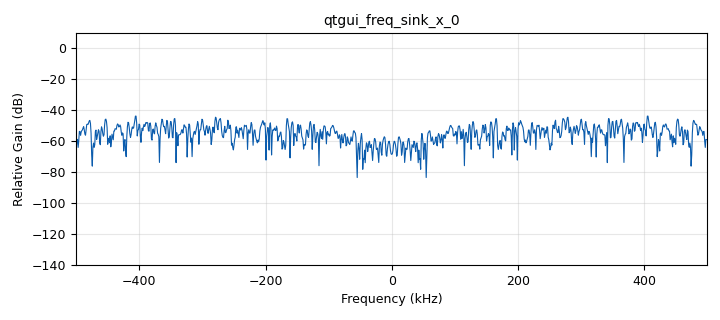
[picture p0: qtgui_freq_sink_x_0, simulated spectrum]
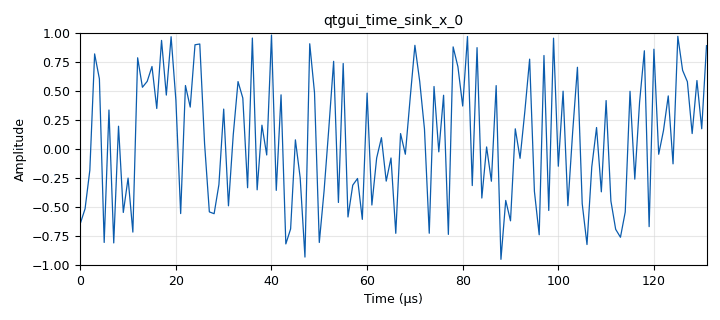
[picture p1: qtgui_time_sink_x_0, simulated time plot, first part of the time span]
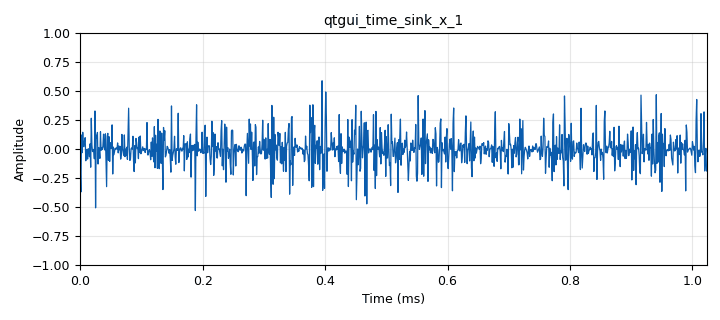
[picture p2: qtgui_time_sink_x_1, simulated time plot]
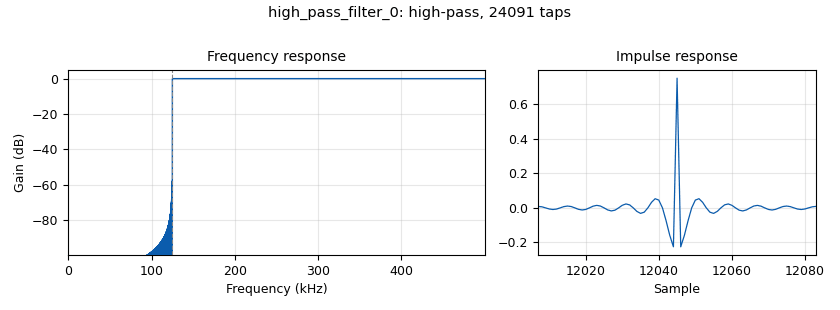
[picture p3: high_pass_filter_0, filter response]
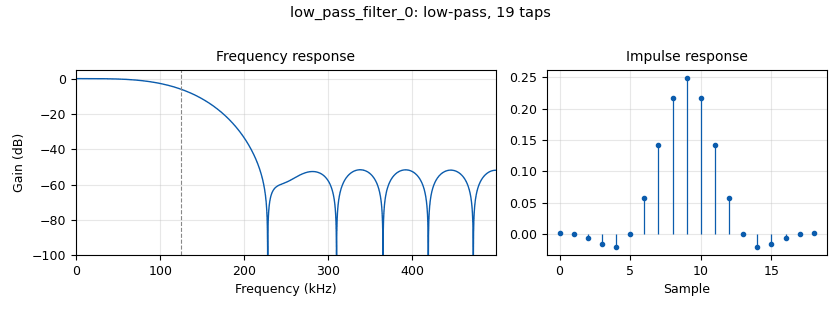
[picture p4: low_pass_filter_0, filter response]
options:
  parameters:
    generate_options: qt_gui
    id: options_0
    output_language: python
    title: Not titled yet
  states: {}

blocks:
- name: cutoff
  id: variable_qtgui_range
  parameters:
    orient: Qt.Horizontal
    start: samp_rate/1000
    step: '1000'
    stop: samp_rate/2
    value: samp_rate/8
  states: {}
- name: samp_rate
  id: variable
  parameters:
    value: '1000000'
  states: {}
- name: transition
  id: variable_qtgui_range
  parameters:
    orient: Qt.Horizontal
    start: samp_rate/1000
    step: '1000'
    stop: samp_rate/2
    value: samp_rate/8
    widget: slider
  states: {}
- name: analog_noise_source_x_0
  id: analog_noise_source_x
  parameters:
    amp: '1'
    noise_type: analog.GR_UNIFORM
    seed: '0'
    type: float
  states: {}
- name: blocks_multiply_xx_0
  id: blocks_multiply_xx
  parameters:
    type: float
  states: {}
- name: blocks_throttle_0
  id: blocks_throttle
  parameters:
    samples_per_second: samp_rate
    type: float
  states: {}
- name: high_pass_filter_0
  id: high_pass_filter
  parameters:
    cutoff_freq: cutoff
    decim: '1'
    gain: '1'
    samp_rate: samp_rate
    type: fir_filter_fff
    width: '100'
    win: firdes.WIN_HAMMING
  states: {}
- name: low_pass_filter_0
  id: low_pass_filter
  parameters:
    cutoff_freq: cutoff
    decim: '1'
    gain: '1'
    samp_rate: samp_rate
    type: fir_filter_fff
    width: transition
    win: firdes.WIN_HAMMING
  states: {}
- name: qtgui_freq_sink_x_0
  id: qtgui_freq_sink_x
  parameters:
    bw: samp_rate
    fc: '0'
    fftsize: '1024'
    type: float
    wintype: firdes.WIN_BLACKMAN_hARRIS
  states: {}
- name: qtgui_time_sink_x_0
  id: qtgui_time_sink_x
  parameters:
    size: '1024'
    srate: samp_rate
    type: float
  states: {}
- name: qtgui_time_sink_x_1
  id: qtgui_time_sink_x
  parameters:
    size: '1024'
    srate: samp_rate
    type: float
  states: {}

connections:
- [analog_noise_source_x_0, '0', blocks_throttle_0, '0']
- [blocks_multiply_xx_0, '0', qtgui_freq_sink_x_0, '0']
- [blocks_multiply_xx_0, '0', qtgui_time_sink_x_1, '0']
- [blocks_throttle_0, '0', high_pass_filter_0, '0']
- [blocks_throttle_0, '0', low_pass_filter_0, '0']
- [blocks_throttle_0, '0', qtgui_time_sink_x_0, '0']
- [high_pass_filter_0, '0', blocks_multiply_xx_0, '0']
- [low_pass_filter_0, '0', blocks_multiply_xx_0, '1']

metadata:
  file_format: 1
